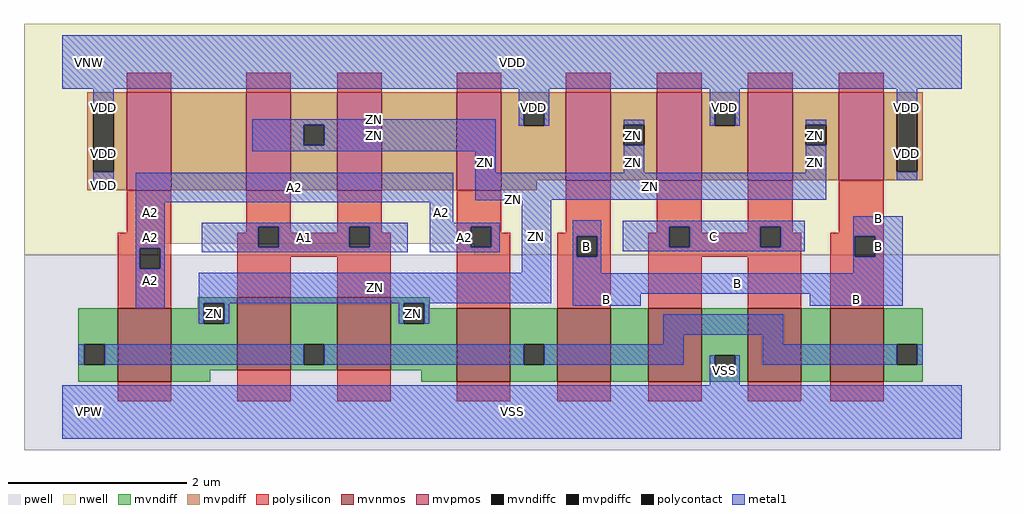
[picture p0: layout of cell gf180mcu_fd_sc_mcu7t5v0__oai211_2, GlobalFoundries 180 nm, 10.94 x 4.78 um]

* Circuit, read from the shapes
.subckt gf180mcu_fd_sc_mcu7t5v0__oai211_2 A1 A2 B C ZN VDD VNW VPW VSS
XM1 ZN A2 n1 VPW nfet_06v0 w=0.82u l=0.6u m=2
XM2 n1 A1 ZN VPW nfet_06v0 w=0.82u l=0.6u m=2
XM3 n2 B n1 VPW nfet_06v0 w=0.82u l=0.6u
XM4 VSS C n2 VPW nfet_06v0 w=0.82u l=0.6u
XM5 n3 C VSS VPW nfet_06v0 w=0.82u l=0.6u
XM6 n1 B n3 VPW nfet_06v0 w=0.82u l=0.6u
XM7 n4 A2 VDD VNW pfet_06v0 w=1.095u l=0.5u
XM8 ZN A1 n4 VNW pfet_06v0 w=1.095u l=0.5u
XM9 n5 A1 ZN VNW pfet_06v0 w=1.095u l=0.5u
XM10 VDD A2 n5 VNW pfet_06v0 w=1.095u l=0.5u
XM11 ZN B VDD VNW pfet_06v0 w=0.985u l=0.5u m=2
XM12 VDD C ZN VNW pfet_06v0 w=0.985u l=0.5u m=2
.ends

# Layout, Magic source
magic
tech gf180mcuD
magscale 1 10
<< nwell >>
rect -86 377 2102 870
rect -86 352 215 377
rect 923 352 2102 377
<< pwell >>
rect -86 -86 2102 352
<< mvnmos >>
rect 124 68 244 232
rect 392 93 512 257
rect 616 93 736 257
rect 884 68 1004 232
rect 1109 68 1229 232
rect 1313 68 1433 232
rect 1537 68 1657 232
rect 1721 68 1841 232
<< mvpmos >>
rect 144 497 244 716
rect 412 497 512 716
rect 616 497 716 716
rect 884 497 984 716
rect 1129 519 1229 716
rect 1333 519 1433 716
rect 1537 519 1637 716
rect 1741 519 1841 716
<< mvndiff >>
rect 304 244 392 257
rect 304 232 317 244
rect 36 152 124 232
rect 36 106 49 152
rect 95 106 124 152
rect 36 68 124 106
rect 244 198 317 232
rect 363 198 392 244
rect 244 93 392 198
rect 512 152 616 257
rect 512 106 541 152
rect 587 106 616 152
rect 512 93 616 106
rect 736 244 824 257
rect 736 198 765 244
rect 811 232 824 244
rect 811 198 884 232
rect 736 93 884 198
rect 244 68 332 93
rect 804 68 884 93
rect 1004 152 1109 232
rect 1004 106 1034 152
rect 1080 106 1109 152
rect 1004 68 1109 106
rect 1229 68 1313 232
rect 1433 127 1537 232
rect 1433 81 1462 127
rect 1508 81 1537 127
rect 1433 68 1537 81
rect 1657 68 1721 232
rect 1841 152 1929 232
rect 1841 106 1870 152
rect 1916 106 1929 152
rect 1841 68 1929 106
<< mvpdiff >>
rect 56 678 144 716
rect 56 538 69 678
rect 115 538 144 678
rect 56 497 144 538
rect 244 497 412 716
rect 512 644 616 716
rect 512 598 541 644
rect 587 598 616 644
rect 512 497 616 598
rect 716 497 884 716
rect 984 687 1129 716
rect 984 641 1034 687
rect 1080 641 1129 687
rect 984 519 1129 641
rect 1229 644 1333 716
rect 1229 598 1258 644
rect 1304 598 1333 644
rect 1229 519 1333 598
rect 1433 687 1537 716
rect 1433 641 1462 687
rect 1508 641 1537 687
rect 1433 519 1537 641
rect 1637 644 1741 716
rect 1637 598 1666 644
rect 1712 598 1741 644
rect 1637 519 1741 598
rect 1841 678 1929 716
rect 1841 538 1870 678
rect 1916 538 1929 678
rect 1841 519 1929 538
rect 984 497 1064 519
<< mvndiffc >>
rect 49 106 95 152
rect 317 198 363 244
rect 541 106 587 152
rect 765 198 811 244
rect 1034 106 1080 152
rect 1462 81 1508 127
rect 1870 106 1916 152
<< mvpdiffc >>
rect 69 538 115 678
rect 541 598 587 644
rect 1034 641 1080 687
rect 1258 598 1304 644
rect 1462 641 1508 687
rect 1666 598 1712 644
rect 1870 538 1916 678
<< polysilicon >>
rect 144 716 244 760
rect 412 716 512 760
rect 616 716 716 760
rect 884 716 984 760
rect 1129 716 1229 760
rect 1333 716 1433 760
rect 1537 716 1637 760
rect 1741 716 1841 760
rect 144 401 244 497
rect 412 415 512 497
rect 412 401 439 415
rect 124 367 244 401
rect 124 321 174 367
rect 220 321 244 367
rect 124 232 244 321
rect 392 369 439 401
rect 485 401 512 415
rect 616 415 716 497
rect 616 401 643 415
rect 485 369 643 401
rect 689 401 716 415
rect 884 415 984 497
rect 689 369 736 401
rect 392 348 736 369
rect 392 257 512 348
rect 616 257 736 348
rect 884 369 915 415
rect 961 401 984 415
rect 1129 401 1229 519
rect 1333 415 1433 519
rect 1333 401 1360 415
rect 961 369 1004 401
rect 884 232 1004 369
rect 1109 394 1229 401
rect 1109 348 1153 394
rect 1199 348 1229 394
rect 1109 232 1229 348
rect 1313 369 1360 401
rect 1406 401 1433 415
rect 1537 415 1637 519
rect 1537 401 1564 415
rect 1406 369 1564 401
rect 1610 401 1637 415
rect 1741 401 1841 519
rect 1610 369 1657 401
rect 1313 348 1657 369
rect 1313 232 1433 348
rect 1537 232 1657 348
rect 1721 394 1841 401
rect 1721 348 1776 394
rect 1822 348 1841 394
rect 1721 232 1841 348
rect 124 24 244 68
rect 392 24 512 93
rect 616 24 736 93
rect 884 24 1004 68
rect 1109 24 1229 68
rect 1313 24 1433 68
rect 1537 24 1657 68
rect 1721 24 1841 68
<< polycontact >>
rect 174 321 220 367
rect 439 369 485 415
rect 643 369 689 415
rect 915 369 961 415
rect 1153 348 1199 394
rect 1360 369 1406 415
rect 1564 369 1610 415
rect 1776 348 1822 394
<< metal1 >>
rect 0 724 2016 844
rect 69 678 115 724
rect 1023 687 1091 724
rect 426 644 972 656
rect 426 598 541 644
rect 587 598 972 644
rect 1023 641 1034 687
rect 1080 641 1091 687
rect 1451 687 1519 724
rect 1258 644 1304 655
rect 426 584 972 598
rect 69 497 115 538
rect 926 536 972 584
rect 1451 641 1462 687
rect 1508 641 1519 687
rect 1870 678 1916 724
rect 1666 644 1712 655
rect 1258 536 1304 598
rect 1666 536 1712 598
rect 165 470 876 536
rect 926 476 1712 536
rect 1870 519 1916 538
rect 926 474 1096 476
rect 165 367 229 470
rect 824 424 876 470
rect 165 321 174 367
rect 220 321 229 367
rect 312 415 774 424
rect 312 369 439 415
rect 485 369 643 415
rect 689 369 774 415
rect 312 358 774 369
rect 824 415 980 424
rect 824 369 915 415
rect 961 369 980 415
rect 824 358 980 369
rect 165 232 229 321
rect 1030 312 1096 474
rect 306 244 1096 312
rect 1144 394 1208 430
rect 1144 348 1153 394
rect 1199 348 1208 394
rect 1256 415 1664 428
rect 1256 369 1360 415
rect 1406 369 1564 415
rect 1610 369 1664 415
rect 1256 360 1664 369
rect 1773 394 1884 438
rect 1144 311 1208 348
rect 1773 348 1776 394
rect 1822 348 1884 394
rect 1773 311 1884 348
rect 1144 265 1884 311
rect 306 198 317 244
rect 363 198 374 244
rect 754 198 765 244
rect 811 198 822 244
rect 1144 238 1297 265
rect 1676 238 1884 265
rect 1347 173 1616 219
rect 1347 152 1393 173
rect 36 106 49 152
rect 95 106 541 152
rect 587 106 1034 152
rect 1080 106 1393 152
rect 1570 152 1616 173
rect 1451 81 1462 127
rect 1508 81 1519 127
rect 1570 106 1870 152
rect 1916 106 1929 152
rect 1451 60 1519 81
rect 0 -60 2016 60
<< labels >>
flabel metal1 s 165 470 876 536 0 FreeSans 400 0 0 0 A2
port 2 nsew default input
flabel metal1 s 426 655 972 656 0 FreeSans 400 0 0 0 ZN
port 5 nsew default output
flabel metal1 s 312 358 774 424 0 FreeSans 400 0 0 0 A1
port 1 nsew default input
flabel metal1 s 1773 430 1884 438 0 FreeSans 400 0 0 0 B
port 3 nsew default input
flabel metal1 s 1256 360 1664 428 0 FreeSans 400 0 0 0 C
port 4 nsew default input
flabel metal1 s 0 724 2016 844 0 FreeSans 400 0 0 0 VDD
port 6 nsew power bidirectional abutment
flabel metal1 s 1451 60 1519 127 0 FreeSans 400 0 0 0 VSS
port 9 nsew ground bidirectional abutment
flabel nwell s 10 734 110 834 0 FreeSans 400 0 0 0 VNW
port 7 nsew power bidirectional
flabel pwell s 10 -50 110 50 0 FreeSans 400 0 0 0 VPW
port 8 nsew ground bidirectional
rlabel metal1 s 824 424 876 470 1 A2
port 2 nsew default input
rlabel metal1 s 165 424 229 470 1 A2
port 2 nsew default input
rlabel metal1 s 824 358 980 424 1 A2
port 2 nsew default input
rlabel metal1 s 165 358 229 424 1 A2
port 2 nsew default input
rlabel metal1 s 165 232 229 358 1 A2
port 2 nsew default input
rlabel metal1 s 1773 311 1884 430 1 B
port 3 nsew default input
rlabel metal1 s 1144 311 1208 430 1 B
port 3 nsew default input
rlabel metal1 s 1144 265 1884 311 1 B
port 3 nsew default input
rlabel metal1 s 1676 238 1884 265 1 B
port 3 nsew default input
rlabel metal1 s 1144 238 1297 265 1 B
port 3 nsew default input
rlabel metal1 s 1666 584 1712 655 1 ZN
port 5 nsew default output
rlabel metal1 s 1258 584 1304 655 1 ZN
port 5 nsew default output
rlabel metal1 s 426 584 972 655 1 ZN
port 5 nsew default output
rlabel metal1 s 1666 536 1712 584 1 ZN
port 5 nsew default output
rlabel metal1 s 1258 536 1304 584 1 ZN
port 5 nsew default output
rlabel metal1 s 926 536 972 584 1 ZN
port 5 nsew default output
rlabel metal1 s 926 476 1712 536 1 ZN
port 5 nsew default output
rlabel metal1 s 926 474 1096 476 1 ZN
port 5 nsew default output
rlabel metal1 s 1030 312 1096 474 1 ZN
port 5 nsew default output
rlabel metal1 s 306 244 1096 312 1 ZN
port 5 nsew default output
rlabel metal1 s 754 198 822 244 1 ZN
port 5 nsew default output
rlabel metal1 s 306 198 374 244 1 ZN
port 5 nsew default output
rlabel metal1 s 1870 641 1916 724 1 VDD
port 6 nsew power bidirectional abutment
rlabel metal1 s 1451 641 1519 724 1 VDD
port 6 nsew power bidirectional abutment
rlabel metal1 s 1023 641 1091 724 1 VDD
port 6 nsew power bidirectional abutment
rlabel metal1 s 69 641 115 724 1 VDD
port 6 nsew power bidirectional abutment
rlabel metal1 s 1870 519 1916 641 1 VDD
port 6 nsew power bidirectional abutment
rlabel metal1 s 69 519 115 641 1 VDD
port 6 nsew power bidirectional abutment
rlabel metal1 s 69 497 115 519 1 VDD
port 6 nsew power bidirectional abutment
rlabel metal1 s 0 -60 2016 60 1 VSS
port 9 nsew ground bidirectional abutment
<< properties >>
string FIXED_BBOX 0 0 2016 784
string GDS_END 97542
string GDS_FILE $PDKPATH/libs.ref/gf180mcu_fd_sc_mcu7t5v0/gds/gf180mcu_fd_sc_mcu7t5v0.gds
string GDS_START 92760
string LEFclass core
string LEFsite GF018hv5v_mcu_sc7
string LEFsymmetry X Y
<< end >>
